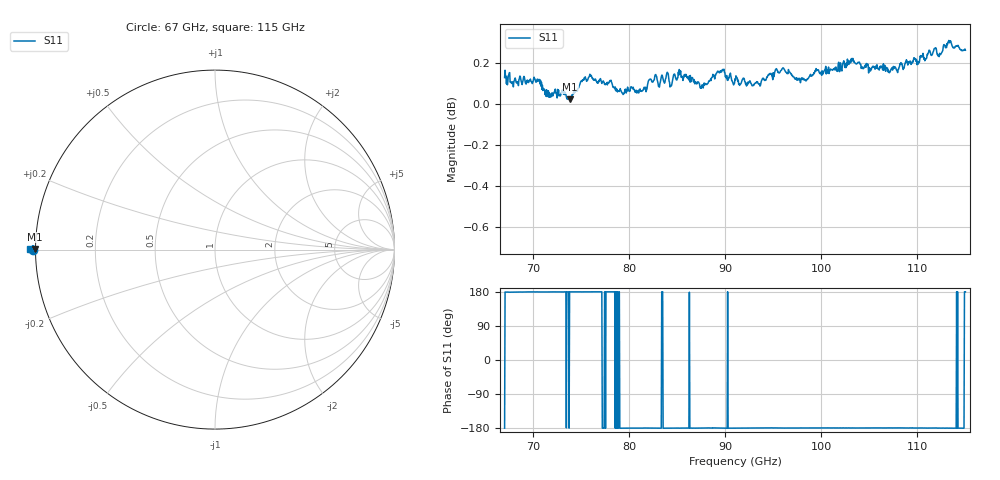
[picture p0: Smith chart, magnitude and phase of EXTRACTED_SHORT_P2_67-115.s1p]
! Generated by Phase I extraction
# Hz S RI R 50
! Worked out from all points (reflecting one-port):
!   1001 points, 67 GHz to 115 GHz, reference 50 ohm
!   lowest |S11| = 0.0 dB at 73.82 GHz (marker M1)
!   phase of S11 starts at -180 deg and turns -0 deg over the sweep
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6.7e10  -1.015 -0.00304
6.7336e10  -1.012 0.0128
6.9544e10  -1.013 0.00507
7.06e10  -1.013 0.00692
7.1656e10  -1.006 0.00774
7.3e10  -1.008 0.00502
7.3816e10  -1.002 0.00349
7.5928e10  -1.016 0.00708
7.9e10  -1.008 -0.000686
7.9528e10  -1.008 -0.00723
8.1736e10  -1.007 -0.00889
8.3416e10  -1.016 0.00081
8.5e10  -1.015 -0.00494
8.6488e10  -1.015 -0.00377
8.7592e10  -1.01 -0.0095
8.8408e10  -1.013 -0.0122
8.9656e10  -1.019 -0.00726
9.1e10  -1.014 -0.00527
9.2968e10  -1.01 -0.00646
9.4696e10  -1.017 -0.0148
9.7e10  -1.016 -0.00753
9.892e10  -1.015 -0.0131
1.03e11  -1.024 -0.013
1.07176e11  -1.018 -0.014
1.09e11  -1.022 -0.0125
1.12312e11  -1.029 -0.00717
1.1332e11  -1.035 -0.00169
1.15e11  -1.03 0.000844
